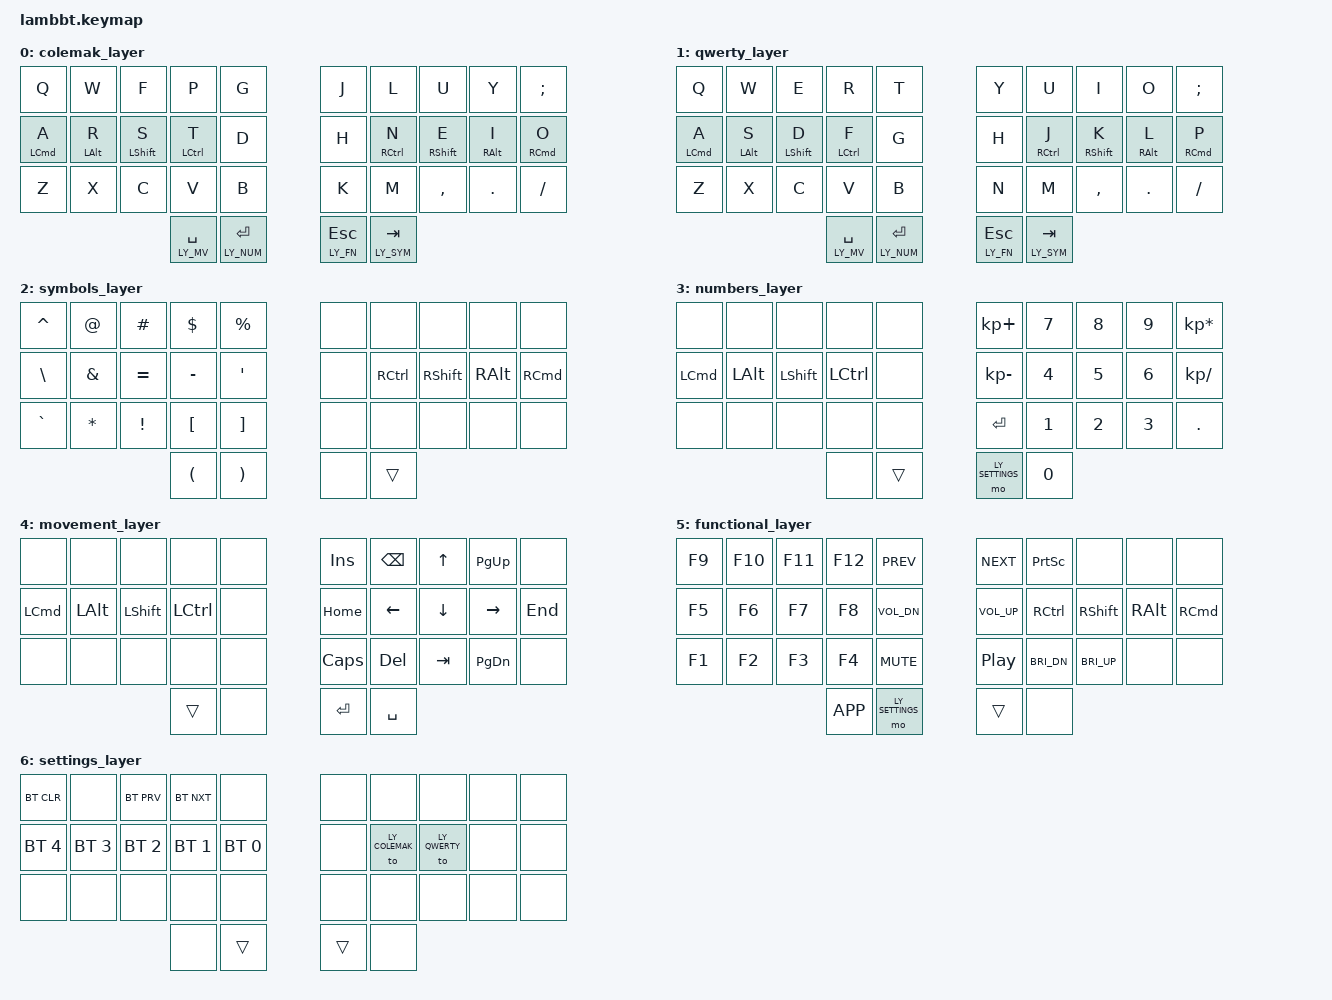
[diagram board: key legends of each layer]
// Copyright (c) 2022 The ZMK Contributors
// SPDX-License-Identifier: MIT

#include <behaviors.dtsi>
#include <dt-bindings/zmk/keys.h>
#include <dt-bindings/zmk/bt.h>
#include <dt-bindings/zmk/outputs.h>

#define LY_COLEMAK 0
#define LY_QWERTY 1
#define LY_SYM 2
#define LY_NUM 3
#define LY_MV 4
#define LY_FN 5
#define LY_SETTINGS 6

&kscan0 {
	debounce-period = <20>;
};

&lt {
	tapping-term-ms = <150>;
};

/ {
	behaviors {
		hm: homerow_mods {
			compatible = "zmk,behavior-hold-tap";
			label = "HOMEROW_MODS";
			#binding-cells = <2>;
			tapping-term-ms = <150>;
			quick_tap_ms = <0>;
			flavor = "tap-preferred";
			bindings = <&kp>, <&kp>;
		};
	};

	keymap {
		compatible = "zmk,keymap";

		// LY_COLEMAK
		colemak_layer {
			bindings = <
	&kp Q      &kp W      &kp F        &kp P       &kp G     &kp J &kp L       &kp U        &kp Y      &kp SEMI
	&hm LCMD A &hm LALT R &hm LSHIFT S &hm LCTRL T &kp D     &kp H &hm RCTRL N &hm RSHIFT E &hm RALT I &hm RCMD O
	&kp Z      &kp X      &kp C        &kp V       &kp B     &kp K &kp M       &kp COMMA    &kp DOT    &kp FSLH
	&lt LY_MV SPACE &lt LY_NUM RET &lt LY_FN ESC &lt LY_SYM TAB
			>;
		};

		// LY_QWERTY
		qwerty_layer {
			bindings = <
	&kp Q      &kp W      &kp E        &kp R       &kp T     &kp Y &kp U       &kp I        &kp O      &kp SEMI
	&hm LCMD A &hm LALT S &hm LSHIFT D &hm LCTRL F &kp G     &kp H &hm RCTRL J &hm RSHIFT K &hm RALT L &hm RCMD P
	&kp Z      &kp X      &kp C        &kp V       &kp B     &kp N &kp M       &kp COMMA    &kp DOT    &kp FSLH
    &lt LY_MV SPACE &lt LY_NUM RET &lt LY_FN ESC &lt LY_SYM TAB
			>;
		};

		// LY_SYM
		symbols_layer {
			bindings = <
	&kp CARET &kp AT    &kp HASH  &kp DLLR  &kp PRCNT    &none &none     &none     &none    &none   
	&kp BSLH  &kp AMPS  &kp EQUAL &kp MINUS &kp SQT      &none &kp RCTRL &kp RSHFT &kp RALT &kp RCMD
	&kp GRAVE &kp ASTRK &kp EXCL  &kp LBKT  &kp RBKT     &none &none     &none     &none    &none   
	&kp LPAR &kp RPAR &none &trans
			>;
		};

		// LY_NUM
		numbers_layer {
			bindings = <
	&none    &none    &none     &none     &none    &kp KP_PLUS  &kp N7 &kp N8 &kp N9 &kp KP_MULTIPLY
	&kp LCMD &kp LALT &kp LSHFT &kp LCTRL &none    &kp KP_MINUS &kp N4 &kp N5 &kp N6 &kp KP_DIVIDE  
	&none    &none    &none     &none     &none    &kp RET      &kp N1 &kp N2 &kp N3 &kp DOT        
	&none &trans &mo LY_SETTINGS &kp N0
			>;
		};

		// LY_MV
		movement_layer {
			bindings = <
	&none    &none    &none     &none     &none    &kp INS  &kp BSPC &kp UP   &kp PG_UP &none  
	&kp LCMD &kp LALT &kp LSHFT &kp LCTRL &none    &kp HOME &kp LEFT &kp DOWN &kp RIGHT &kp END
	&none    &none    &none     &none     &none    &kp CAPS &kp DEL  &kp TAB  &kp PG_DN &none  
	&trans &none &kp RET &kp SPACE
			>;
		};

		// LY_FN
		functional_layer {
			bindings = <
	&kp F9 &kp F10 &kp F11 &kp F12 &kp C_PREV      &kp C_NEXT   &kp PSCRN    &none        &none    &none   
	&kp F5 &kp F6  &kp F7  &kp F8  &kp C_VOL_DN    &kp C_VOL_UP &kp RCTRL    &kp RSHFT    &kp RALT &kp RCMD
	&kp F1 &kp F2  &kp F3  &kp F4  &kp C_MUTE      &kp C_PP     &kp C_BRI_DN &kp C_BRI_UP &none    &none   
	&kp K_APP &mo LY_SETTINGS &trans &none
			>;
		};

		// LY_SETTINGS
		settings_layer {
			bindings = <
	&bt BT_CLR   &none        &bt BT_PRV   &bt BT_NXT   &none           &none &none          &none         &none &none
	&bt BT_SEL 4 &bt BT_SEL 3 &bt BT_SEL 2 &bt BT_SEL 1 &bt BT_SEL 0    &none &to LY_COLEMAK &to LY_QWERTY &none &none
	&none        &none        &none        &none        &none           &none &none          &none         &none &none
	&none &trans &trans &none
			>;
		};
	};
};
